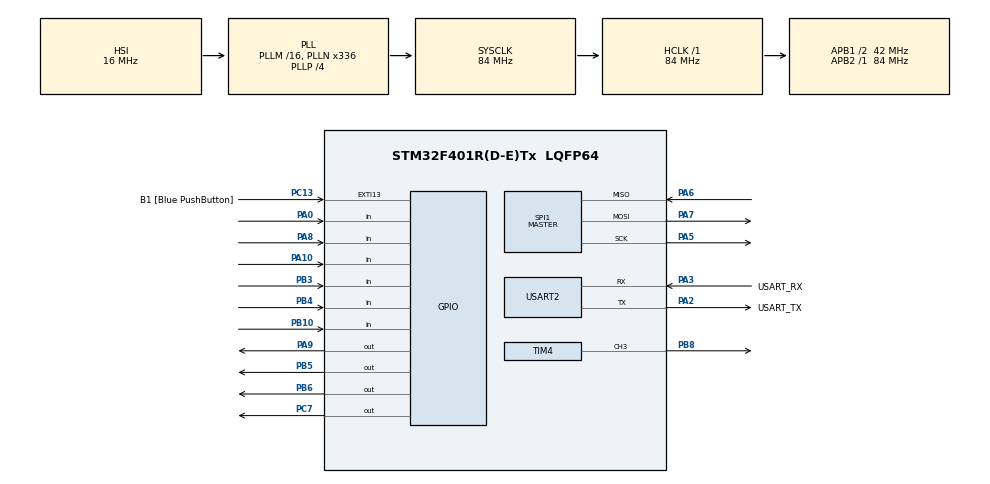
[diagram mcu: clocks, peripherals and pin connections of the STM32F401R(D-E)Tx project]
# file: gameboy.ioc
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Mcu.Family=STM32F4
Mcu.Name=STM32F401R(D-E)Tx
Mcu.Package=LQFP64
NVIC.PriorityGroup=NVIC_PRIORITYGROUP_4
PA0-WKUP.GPIO_PuPd=GPIO_PULLUP
PA0-WKUP.Signal=GPIO_Input
PA10.GPIO_PuPd=GPIO_PULLUP
PA10.Signal=GPIO_Input
PA13.GPIO_Label=TMS
PA13.Mode=Serial_Wire
PA13.Signal=SYS_JTMS-SWDIO
PA14.GPIO_Label=TCK
PA14.Mode=Serial_Wire
PA14.Signal=SYS_JTCK-SWCLK
PA2.GPIO_Label=USART_TX
PA2.GPIO_Mode=GPIO_MODE_AF_PP
PA2.GPIO_PuPd=GPIO_NOPULL
PA2.GPIO_Speed=GPIO_SPEED_FREQ_LOW
PA2.Mode=Asynchronous
PA2.Signal=USART2_TX
PA3.GPIO_Label=USART_RX
PA3.GPIO_Mode=GPIO_MODE_AF_PP
PA3.GPIO_PuPd=GPIO_NOPULL
PA3.GPIO_Speed=GPIO_SPEED_FREQ_LOW
PA3.Mode=Asynchronous
PA3.Signal=USART2_RX
PA5.Mode=Full_Duplex_Master
PA5.Signal=SPI1_SCK
PA6.GPIO_PuPd=GPIO_PULLUP
PA6.Mode=Full_Duplex_Master
PA6.Signal=SPI1_MISO
PA7.Mode=Full_Duplex_Master
PA7.Signal=SPI1_MOSI
PA8.GPIO_PuPd=GPIO_PULLUP
PA8.Signal=GPIO_Input
PA9.PinState=GPIO_PIN_SET
PA9.Signal=GPIO_Output
PB10.GPIO_PuPd=GPIO_PULLUP
PB10.Signal=GPIO_Input
PB3.GPIO_PuPd=GPIO_PULLUP
PB3.Signal=GPIO_Input
PB4.GPIO_PuPd=GPIO_PULLUP
PB4.Signal=GPIO_Input
PB5.PinState=GPIO_PIN_SET
PB5.Signal=GPIO_Output
PB6.PinState=GPIO_PIN_SET
PB6.Signal=GPIO_Output
PB8.Signal=S_TIM4_CH3
PC13-ANTI_TAMP.GPIO_Label=B1 [Blue PushButton]
PC13-ANTI_TAMP.GPIO_ModeDefaultEXTI=GPIO_MODE_IT_FALLING
PC13-ANTI_TAMP.GPIO_PuPd=GPIO_NOPULL
PC13-ANTI_TAMP.Signal=GPXTI13
PC14-OSC32_IN.Mode=LSE-External-Oscillator
PC14-OSC32_IN.Signal=RCC_OSC32_IN
PC15-OSC32_OUT.Mode=LSE-External-Oscillator
PC15-OSC32_OUT.Signal=RCC_OSC32_OUT
PC7.PinState=GPIO_PIN_SET
PC7.Signal=GPIO_Output
PH0\ -\ OSC_IN.Mode=HSE-External-Clock-Source
PH0\ -\ OSC_IN.Signal=RCC_OSC_IN
PH1\ -\ OSC_OUT.Mode=HSE-External-Clock-Source
PH1\ -\ OSC_OUT.Signal=RCC_OSC_OUT
ProjectManager.HeapSize=0x200
ProjectManager.StackSize=0x400
ProjectManager.TargetToolchain=STM32CubeIDE
RCC.48MHZClocksFreq_Value=48000000
RCC.AHBFreq_Value=84000000
RCC.APB1CLKDivider=RCC_HCLK_DIV2
RCC.APB1Freq_Value=42000000
RCC.APB1TimFreq_Value=84000000
RCC.APB2Freq_Value=84000000
RCC.APB2TimFreq_Value=84000000
RCC.CortexFreq_Value=84000000
RCC.HCLKFreq_Value=84000000
RCC.HSE_VALUE=8000000
RCC.HSI_VALUE=16000000
RCC.PLLN=336
RCC.PLLP=RCC_PLLP_DIV4
RCC.PLLQ=7
RCC.SYSCLKFreq_VALUE=84000000
RCC.SYSCLKSource=RCC_SYSCLKSOURCE_PLLCLK
RCC.VCOOutputFreq_Value=336000000
SH.S_TIM4_CH3.0=TIM4_CH3,PWM Generation3 CH3
SPI1.Direction=SPI_DIRECTION_2LINES
SPI1.Mode=SPI_MODE_MASTER
SPI1.VirtualType=VM_MASTER
TIM4.Channel-PWM\ Generation3\ CH3=TIM_CHANNEL_3
USART2.VirtualMode=VM_ASYNC
VP_FATFS_VS_Generic.Mode=User_defined
board=NUCLEO-F401RE

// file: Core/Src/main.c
/* USER CODE BEGIN Header */
/**
  ******************************************************************************
  * @file           : main.c
  * @brief          : Main program body
  ******************************************************************************
  * @attention
  *
  * Copyright (c) 2026 STMicroelectronics.
  * All rights reserved.
  *
  * This software is licensed under terms that can be found in the LICENSE file
  * in the root directory of this software component.
  * If no LICENSE file comes with this software, it is provided AS-IS.
  *
  ******************************************************************************
  */
/* USER CODE END Header */
#include "main.h"
#include "fatfs.h"

/* USER CODE BEGIN Includes */
#include "../../Drivers/lcd/lcd.h"
#include "../../Drivers/buttons/buttons.h"
#include "../../Graphics/graphics.h"
#include "../../Drivers/audio/audio.h"
#include "../../System/menu.h"
#include "../../Games/snake.h"
#include "../../Drivers/sd/sd.h"
#include "../../Games/tetris.h"
#include "../../Games/shooter.h"
#include "../../System/scores.h"
#include "../../Drivers/spi_dma/spi_dma.h"
/* USER CODE END Includes */

SPI_HandleTypeDef hspi1;

TIM_HandleTypeDef htim4;

UART_HandleTypeDef huart2;

/* USER CODE BEGIN PV */
DMA_HandleTypeDef hdma_spi1_tx;
DMA_HandleTypeDef hdma_spi1_rx;
/* USER CODE END PV */

void SystemClock_Config(void);
static void MX_GPIO_Init(void);
static void MX_USART2_UART_Init(void);
static void MX_SPI1_Init(void);
static void MX_TIM4_Init(void);
/* USER CODE BEGIN PFP */
static void MX_DMA_Init(void);
/* USER CODE END PFP */

int main(void)
{

  /* MCU Configuration--------------------------------------------------------*/

  /* Reset of all peripherals, Initializes the Flash interface and the Systick. */
  HAL_Init();

  /* Configure the system clock */
  SystemClock_Config();

  /* Initialize all configured peripherals */
  MX_GPIO_Init();
  MX_DMA_Init();
  MX_USART2_UART_Init();
  MX_SPI1_Init();
  MX_TIM4_Init();
  MX_FATFS_Init();
  /* USER CODE BEGIN 2 */
  spi_dma_init();
  lcd_init();
  menu_init();
  sd_init();
  scores_load();
  /* USER CODE END 2 */

  /* Infinite loop */
  /* USER CODE BEGIN WHILE */
  while (1)
  {
	  buttons_update();
	  int selection = menu_update();
	  if (selection == SNAKE) {
	    snake_run();
	    menu_init();
	  } else if (selection == TETRIS) {
	    tetris_run();
      menu_init();
    } else if (selection == TOP_DOWN_SHOOTER) {
      shooter_run();
	    menu_init();
	  }
    HAL_Delay(20);
    /* USER CODE END WHILE */

  }
}

void SystemClock_Config(void)
{
  RCC_OscInitTypeDef RCC_OscInitStruct = {0};
  RCC_ClkInitTypeDef RCC_ClkInitStruct = {0};

  /** Configure the main internal regulator output voltage
  */
  __HAL_RCC_PWR_CLK_ENABLE();
  __HAL_PWR_VOLTAGESCALING_CONFIG(PWR_REGULATOR_VOLTAGE_SCALE2);

  /** Initializes the RCC Oscillators according to the specified parameters
  * in the RCC_OscInitTypeDef structure.
  */
  RCC_OscInitStruct.OscillatorType = RCC_OSCILLATORTYPE_HSI;
  RCC_OscInitStruct.HSIState = RCC_HSI_ON;
  RCC_OscInitStruct.HSICalibrationValue = RCC_HSICALIBRATION_DEFAULT;
  RCC_OscInitStruct.PLL.PLLState = RCC_PLL_ON;
  RCC_OscInitStruct.PLL.PLLSource = RCC_PLLSOURCE_HSI;
  RCC_OscInitStruct.PLL.PLLM = 16;
  RCC_OscInitStruct.PLL.PLLN = 336;
  RCC_OscInitStruct.PLL.PLLP = RCC_PLLP_DIV4;
  RCC_OscInitStruct.PLL.PLLQ = 7;
  if (HAL_RCC_OscConfig(&RCC_OscInitStruct) != HAL_OK)
  {
    Error_Handler();
  }

  /** Initializes the CPU, AHB and APB buses clocks
  */
  RCC_ClkInitStruct.ClockType = RCC_CLOCKTYPE_HCLK|RCC_CLOCKTYPE_SYSCLK
                              |RCC_CLOCKTYPE_PCLK1|RCC_CLOCKTYPE_PCLK2;
  RCC_ClkInitStruct.SYSCLKSource = RCC_SYSCLKSOURCE_PLLCLK;
  RCC_ClkInitStruct.AHBCLKDivider = RCC_SYSCLK_DIV1;
  RCC_ClkInitStruct.APB1CLKDivider = RCC_HCLK_DIV2;
  RCC_ClkInitStruct.APB2CLKDivider = RCC_HCLK_DIV1;

  if (HAL_RCC_ClockConfig(&RCC_ClkInitStruct, FLASH_LATENCY_2) != HAL_OK)
  {
    Error_Handler();
  }
}

static void MX_SPI1_Init(void)
{

  /* SPI1 parameter configuration*/
  hspi1.Instance = SPI1;
  hspi1.Init.Mode = SPI_MODE_MASTER;
  hspi1.Init.Direction = SPI_DIRECTION_2LINES;
  hspi1.Init.DataSize = SPI_DATASIZE_8BIT;
  hspi1.Init.CLKPolarity = SPI_POLARITY_LOW;
  hspi1.Init.CLKPhase = SPI_PHASE_1EDGE;
  hspi1.Init.NSS = SPI_NSS_SOFT;
  hspi1.Init.BaudRatePrescaler = SPI_BAUDRATEPRESCALER_2;
  hspi1.Init.FirstBit = SPI_FIRSTBIT_MSB;
  hspi1.Init.TIMode = SPI_TIMODE_DISABLE;
  hspi1.Init.CRCCalculation = SPI_CRCCALCULATION_DISABLE;
  hspi1.Init.CRCPolynomial = 10;
  if (HAL_SPI_Init(&hspi1) != HAL_OK)
  {
    Error_Handler();
  }

}

static void MX_TIM4_Init(void)
{

  TIM_MasterConfigTypeDef sMasterConfig = {0};
  TIM_OC_InitTypeDef sConfigOC = {0};

  htim4.Instance = TIM4;
  htim4.Init.Prescaler = 0;
  htim4.Init.CounterMode = TIM_COUNTERMODE_UP;
  htim4.Init.Period = 65535;
  htim4.Init.ClockDivision = TIM_CLOCKDIVISION_DIV1;
  htim4.Init.AutoReloadPreload = TIM_AUTORELOAD_PRELOAD_DISABLE;
  if (HAL_TIM_PWM_Init(&htim4) != HAL_OK)
  {
    Error_Handler();
  }
  sMasterConfig.MasterOutputTrigger = TIM_TRGO_RESET;
  sMasterConfig.MasterSlaveMode = TIM_MASTERSLAVEMODE_DISABLE;
  if (HAL_TIMEx_MasterConfigSynchronization(&htim4, &sMasterConfig) != HAL_OK)
  {
    Error_Handler();
  }
  sConfigOC.OCMode = TIM_OCMODE_PWM1;
  sConfigOC.Pulse = 0;
  sConfigOC.OCPolarity = TIM_OCPOLARITY_HIGH;
  sConfigOC.OCFastMode = TIM_OCFAST_DISABLE;
  if (HAL_TIM_PWM_ConfigChannel(&htim4, &sConfigOC, TIM_CHANNEL_3) != HAL_OK)
  {
    Error_Handler();
  }
  HAL_TIM_MspPostInit(&htim4);

}

static void MX_USART2_UART_Init(void)
{

  huart2.Instance = USART2;
  huart2.Init.BaudRate = 115200;
  huart2.Init.WordLength = UART_WORDLENGTH_8B;
  huart2.Init.StopBits = UART_STOPBITS_1;
  huart2.Init.Parity = UART_PARITY_NONE;
  huart2.Init.Mode = UART_MODE_TX_RX;
  huart2.Init.HwFlowCtl = UART_HWCONTROL_NONE;
  huart2.Init.OverSampling = UART_OVERSAMPLING_16;
  if (HAL_UART_Init(&huart2) != HAL_OK)
  {
    Error_Handler();
  }

}

static void MX_GPIO_Init(void)
{
  GPIO_InitTypeDef GPIO_InitStruct = {0};

  /* GPIO Ports Clock Enable */
  __HAL_RCC_GPIOC_CLK_ENABLE();
  __HAL_RCC_GPIOH_CLK_ENABLE();
  __HAL_RCC_GPIOA_CLK_ENABLE();
  __HAL_RCC_GPIOB_CLK_ENABLE();

  /*Configure GPIO pin Output Level */
  HAL_GPIO_WritePin(GPIOC, GPIO_PIN_7, GPIO_PIN_SET);

  /*Configure GPIO pin Output Level */
  HAL_GPIO_WritePin(GPIOA, GPIO_PIN_9, GPIO_PIN_SET);

  /*Configure GPIO pin Output Level */
  HAL_GPIO_WritePin(GPIOB, GPIO_PIN_5|GPIO_PIN_6, GPIO_PIN_SET);

  /*Configure GPIO pin : B1_Pin */
  GPIO_InitStruct.Pin = B1_Pin;
  GPIO_InitStruct.Mode = GPIO_MODE_IT_FALLING;
  GPIO_InitStruct.Pull = GPIO_NOPULL;
  HAL_GPIO_Init(B1_GPIO_Port, &GPIO_InitStruct);

  /*Configure GPIO pins : PA0 PA8 PA10 */
  GPIO_InitStruct.Pin = GPIO_PIN_0|GPIO_PIN_8|GPIO_PIN_10;
  GPIO_InitStruct.Mode = GPIO_MODE_INPUT;
  GPIO_InitStruct.Pull = GPIO_PULLUP;
  HAL_GPIO_Init(GPIOA, &GPIO_InitStruct);

  /*Configure GPIO pins : PB10 PB3 PB4 */
  GPIO_InitStruct.Pin = GPIO_PIN_10|GPIO_PIN_3|GPIO_PIN_4;
  GPIO_InitStruct.Mode = GPIO_MODE_INPUT;
  GPIO_InitStruct.Pull = GPIO_PULLUP;
  HAL_GPIO_Init(GPIOB, &GPIO_InitStruct);

  /*Configure GPIO pin : PC7 */
  GPIO_InitStruct.Pin = GPIO_PIN_7;
  GPIO_InitStruct.Mode = GPIO_MODE_OUTPUT_PP;
  GPIO_InitStruct.Pull = GPIO_NOPULL;
  GPIO_InitStruct.Speed = GPIO_SPEED_FREQ_LOW;
  HAL_GPIO_Init(GPIOC, &GPIO_InitStruct);

  /*Configure GPIO pin : PA9 */
  GPIO_InitStruct.Pin = GPIO_PIN_9;
  GPIO_InitStruct.Mode = GPIO_MODE_OUTPUT_PP;
  GPIO_InitStruct.Pull = GPIO_NOPULL;
  GPIO_InitStruct.Speed = GPIO_SPEED_FREQ_LOW;
  HAL_GPIO_Init(GPIOA, &GPIO_InitStruct);

  /*Configure GPIO pins : PB5 PB6 */
  GPIO_InitStruct.Pin = GPIO_PIN_5|GPIO_PIN_6;
  GPIO_InitStruct.Mode = GPIO_MODE_OUTPUT_PP;
  GPIO_InitStruct.Pull = GPIO_NOPULL;
  GPIO_InitStruct.Speed = GPIO_SPEED_FREQ_LOW;
  HAL_GPIO_Init(GPIOB, &GPIO_InitStruct);

}

/* USER CODE BEGIN 4 */
static void MX_DMA_Init(void)
{
  __HAL_RCC_DMA2_CLK_ENABLE();

  HAL_NVIC_SetPriority(DMA2_Stream0_IRQn, 1, 0);
  HAL_NVIC_EnableIRQ(DMA2_Stream0_IRQn);

  HAL_NVIC_SetPriority(DMA2_Stream3_IRQn, 1, 0);
  HAL_NVIC_EnableIRQ(DMA2_Stream3_IRQn);
}
/* USER CODE END 4 */

void Error_Handler(void)
{
  __disable_irq();
  while (1)
  {
  }
}
